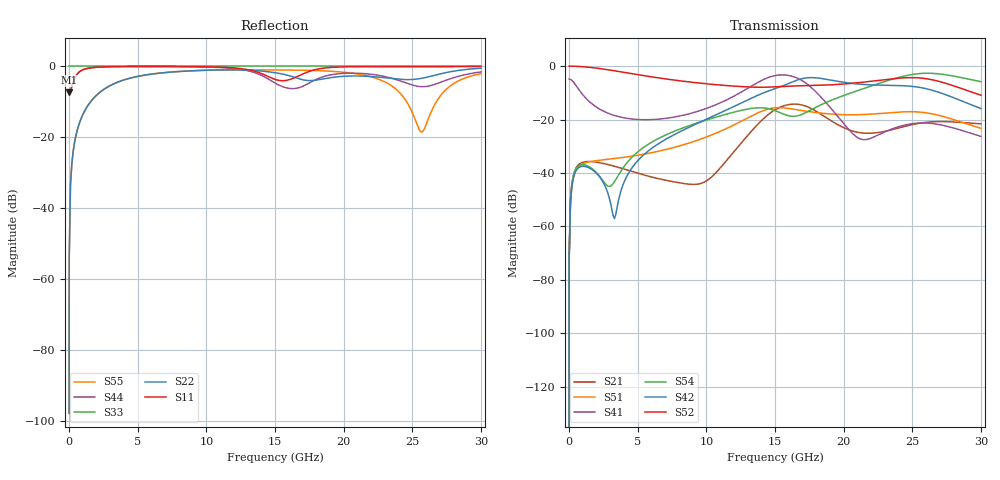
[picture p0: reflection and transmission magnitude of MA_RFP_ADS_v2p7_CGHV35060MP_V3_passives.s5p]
! AWR Design Environment (12629) Tue Oct 31 12:00:51 2023
! Document = 'CGHV35060MP_V2_passives'
! nPorts: 5, nXvals: 306
# GHz S MA R 50
!Freq MagS11 AngS11 MagS12 AngS12 MagS13 AngS13 MagS14 AngS14
!	MagS15 AngS15
!	MagS21 AngS21 MagS22 AngS22 MagS23 AngS23 MagS24 AngS24
!	MagS25 AngS25
!	MagS31 AngS31 MagS32 AngS32 MagS33 AngS33 MagS34 AngS34
!	MagS35 AngS35
!	MagS41 AngS41 MagS42 AngS42 MagS43 AngS43 MagS44 AngS44
!	MagS45 AngS45
!	MagS51 AngS51 MagS52 AngS52 MagS53 AngS53 MagS54 AngS54
!	MagS55 AngS55
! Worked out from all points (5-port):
!   305 points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, 1 kHz to 30 GHz, reference 50 ohm
!   strongest paths, dB at 1 kHz, 7.2 GHz, 14.8 GHz, 22.4 GHz, 30 GHz:
!     S52: 0.0, -4.9, -7.8, -5.4, -10.9
!     S42: -148.4, -26.9, -8.8, -7.1, -15.9
!     S54: -148.2, -25.4, -16.3, -6.7, -5.8
!     S41: -4.8, -19.4, -3.8, -26.0, -26.3
!     S51: -148.5, -31.0, -15.7, -17.8, -23.3
!     S21: -148.2, -42.9, -17.0, -24.9, -21.6
!   lowest |S11| = -7.4 dB at 100 kHz (marker M1), VSWR 2.48, Z = 20.1 - j0.00449 ohm
!   |S11| at or under -10 dB: nowhere
